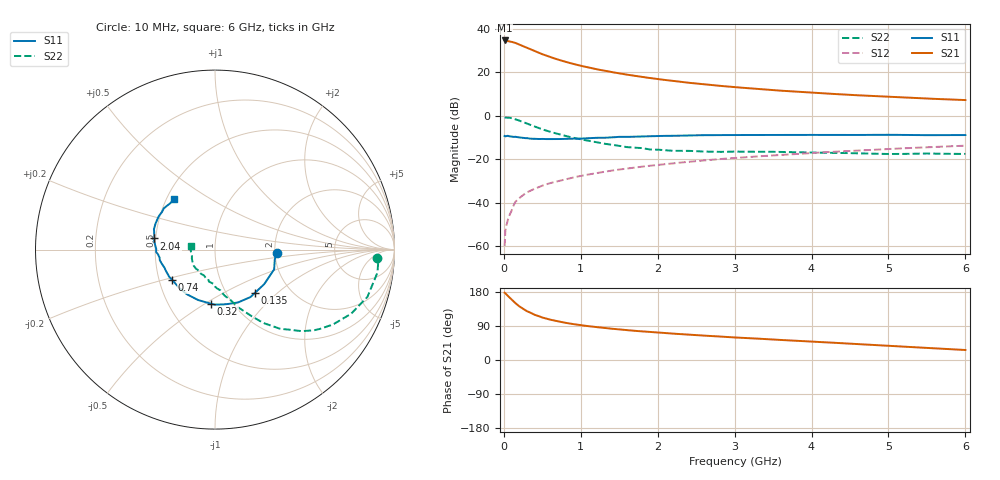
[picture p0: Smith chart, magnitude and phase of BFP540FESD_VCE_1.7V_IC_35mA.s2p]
! Infineon Technologies  Discrete & RF Semiconductors
! BFP540FESD
! VCE =  1.7 V,  IC =  35 mA
! Common Emitter S-Parameters:  Nov 2015
# GHz  S  MA  R  50
!  f  S11  S21  S12  S22
! GHz  MAG  ANG  MAG  ANG  MAG  ANG  MAG  ANG
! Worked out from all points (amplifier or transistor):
!   210 points, 10 MHz to 6 GHz, reference 50 ohm
!   highest |S21| = 34.7 dB at 10 MHz (marker M1)
!   |S21| within 3 dB of that: start of sweep to 274.5 MHz
!   unconditionally stable (mu >= 1): start of sweep to 12.71 MHz; 1.393 GHz to end of sweep
!   at 185 MHz: K = 0.40, MSG = 35.7 dB, |S12| = -38.4 dB
!   at 1.52 GHz: K = 1.01, MAG = 21.3 dB, |S12| = -24.6 dB
!   at 6 GHz: K = 1.16, MAG = 8.1 dB, |S12| = -13.7 dB
!   S11 on the Smith chart (normalised r, x): 10 MHz: 2.04, -0.09; 135 MHz: 1.34, -0.73; 320 MHz: 0.80, -0.53; 740 MHz: 0.58, -0.22; 2.04 GHz: 0.49, +0.07; 6 GHz: 0.55, +0.35
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0.01  0.3439 -3.3  54.34 177.5  0.001 113.5  0.9046 -3.1
0.02  0.3376 -9.6  52.38 176.0  0.0023 111.1  0.9133 -2.2
0.05  0.3475 -18.5  52.76 169.7  0.0039 90.0  0.9138 -8.1
0.1  0.3349 -35.1  50.6 159.3  0.0065 83.5  0.8893 -17.2
0.135  0.3282 -47.7  48.44 153.0  0.0093 79.1  0.8517 -22.8
0.15  0.3302 -53.1  47.7 150.1  0.0105 77.9  0.8382 -25.3
0.2  0.3213 -66.3  43.83 141.7  0.0126 73.9  0.7785 -32.4
0.26  0.309 -81.2  39.48 133.8  0.0155 71.4  0.7103 -39.3
0.3  0.3067 -90.8  36.79 128.8  0.0173 70.1  0.6648 -43.1
0.32  0.3024 -94.2  35.52 127.2  0.018 69.9  0.6446 -44.5
0.4  0.2963 -108.5  30.82 119.3  0.0209 69.3  0.568 -50.8
0.5  0.2941 -122.3  26.25 112.1  0.0247 68.4  0.4882 -56.7
0.6  0.292 -132.5  22.55 106.6  0.0282 67.0  0.4289 -60.8
0.74  0.2927 -144.7  18.89 100.6  0.0324 67.2  0.3681 -65.8
1.02  0.3003 -161.3  13.95 91.4  0.0421 67.0  0.2833 -74.4
1.5  0.3284 -177.6  9.485 80.7  0.0581 65.5  0.2054 -90.1
2.02  0.3448 169.9  6.948 72.1  0.0752 62.5  0.1658 -108.3
2.04  0.3449 169.6  6.88 71.8  0.0758 62.4  0.1647 -108.8
3.1  0.3618 155.5  4.434 58.5  0.1103 56.4  0.1497 -135.9
4.1  0.3635 148.0  3.337 47.5  0.143 49.7  0.1421 -152.2
5.1  0.3645 139.8  2.698 36.4  0.176 41.6  0.1325 -168.5
6  0.3612 128.9  2.307 26.4  0.2057 33.8  0.1328 172.3
